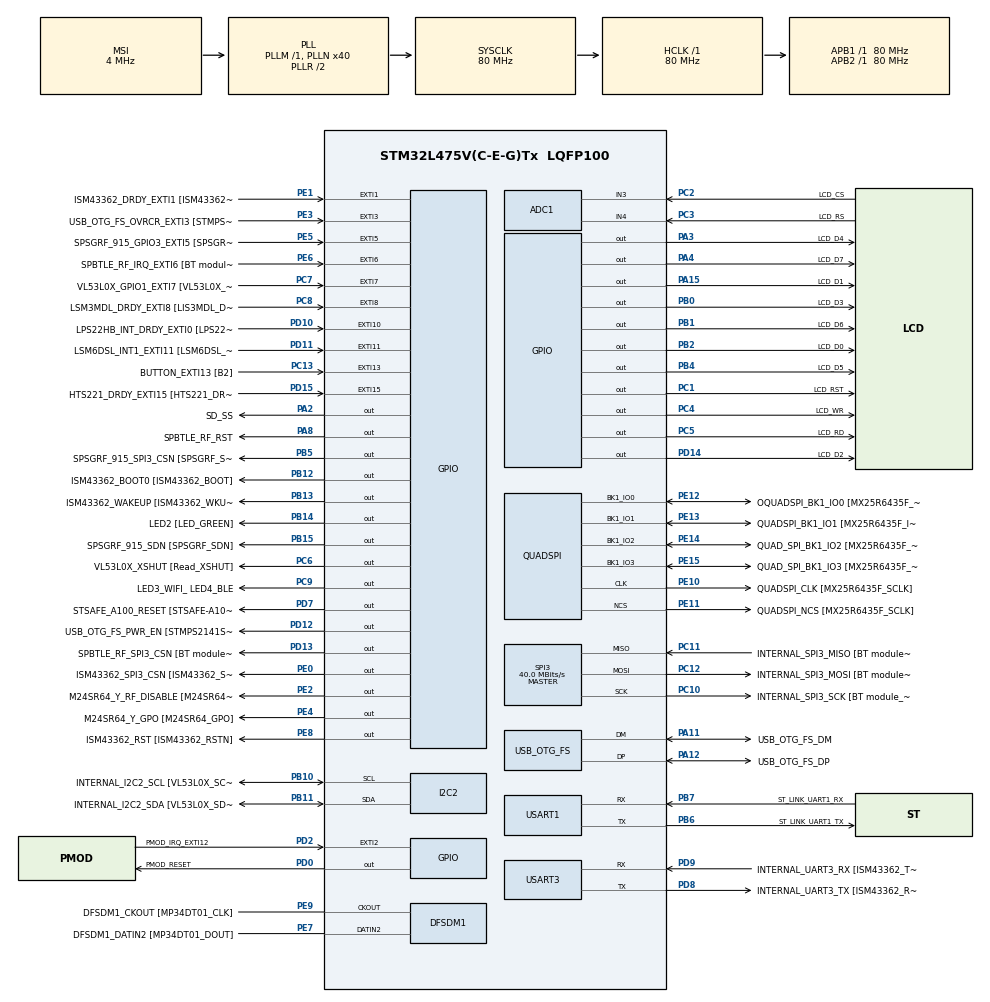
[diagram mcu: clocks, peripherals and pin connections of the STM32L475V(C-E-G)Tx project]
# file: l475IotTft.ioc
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ADC1.Channel-0\#ChannelRegularConversion=ADC_CHANNEL_3
ADC1.NbrOfConversionFlag=1
ADC1.OffsetNumber-0\#ChannelRegularConversion=ADC_OFFSET_NONE
ADC1.Rank-0\#ChannelRegularConversion=1
ADC1.SamplingTime-0\#ChannelRegularConversion=ADC_SAMPLETIME_2CYCLES_5
ADC1.master=1
Mcu.Family=STM32L4
Mcu.Name=STM32L475V(C-E-G)Tx
Mcu.Package=LQFP100
NVIC.EXTI15_10_IRQn=true\:0\:0\:false\:false\:true\:true\:true
NVIC.EXTI9_5_IRQn=true\:0\:0\:false\:false\:true\:true\:true
NVIC.PriorityGroup=NVIC_PRIORITYGROUP_4
PA0.GPIO_Label=ARD_D1 [UART4_TX]
PA0.Signal=UART4_TX
PA1.GPIO_Label=ARD_D0 [UART4_RX]
PA1.Signal=UART4_RX
PA10.GPIO_Label=USB_OTG_FS_ID
PA10.Signal=USB_OTG_FS_ID
PA11.GPIO_Label=USB_OTG_FS_DM
PA11.Mode=Device_Only
PA11.Signal=USB_OTG_FS_DM
PA12.GPIO_Label=USB_OTG_FS_DP
PA12.Mode=Device_Only
PA12.Signal=USB_OTG_FS_DP
PA13\ (JTMS-SWDIO).GPIO_Label=SYS_JTMS_SWDIO
PA13\ (JTMS-SWDIO).Mode=Serial_Wire
PA13\ (JTMS-SWDIO).Signal=SYS_JTMS-SWDIO
PA14\ (JTCK-SWCLK).GPIO_Label=SYS_JTCK_SWCLK
PA14\ (JTCK-SWCLK).Mode=Serial_Wire
PA14\ (JTCK-SWCLK).Signal=SYS_JTCK-SWCLK
PA15\ (JTDI).GPIO_Label=LCD_D1
PA15\ (JTDI).Signal=GPIO_Output
PA2.GPIO_Label=SD_SS
PA2.Signal=GPIO_Output
PA3.GPIO_Label=LCD_D4
PA3.Signal=GPIO_Output
PA4.GPIO_Label=LCD_D7
PA4.Signal=GPIO_Output
PA5.GPIO_Label=ARD_D13 [SPI1_SCK]
PA5.Signal=SPI1_SCK
PA6.GPIO_Label=ARD_D12 [SPI1_MISO]
PA6.Signal=SPI1_MISO
PA7.GPIO_Label=ARD_D11 [SPI1_MOSI]
PA7.Signal=SPI1_MOSI
PA8.GPIO_Label=SPBTLE_RF_RST
PA8.Signal=GPIO_Output
PA9.GPIO_Label=USB_OTG_FS_VBUS [STMPS2141STR_OUT]
PA9.Signal=USB_OTG_FS_VBUS
PB0.GPIO_Label=LCD_D3
PB0.Signal=GPIO_Output
PB1.GPIO_Label=LCD_D6
PB1.Signal=GPIO_Output
PB10.GPIO_Label=INTERNAL_I2C2_SCL [VL53L0X_SCL]
PB10.Mode=I2C
PB10.Signal=I2C2_SCL
PB11.GPIO_Label=INTERNAL_I2C2_SDA [VL53L0X_SDA]
PB11.Mode=I2C
PB11.Signal=I2C2_SDA
PB12.GPIO_Label=ISM43362_BOOT0 [ISM43362_BOOT]
PB12.Signal=GPIO_Output
PB13.GPIO_Label=ISM43362_WAKEUP [ISM43362_WKUP]
PB13.Signal=GPIO_Output
PB14.GPIO_Label=LED2 [LED_GREEN]
PB14.Signal=GPIO_Output
PB15.GPIO_Label=SPSGRF_915_SDN [SPSGRF_SDN]
PB15.Signal=GPIO_Output
PB2.GPIO_Label=LCD_D0
PB2.Signal=GPIO_Output
PB3\ (JTDO-TRACESWO).GPIO_Label=SYS_JTD0_SWO
PB3\ (JTDO-TRACESWO).Signal=SYS_JTDO-SWO
PB4\ (NJTRST).GPIO_Label=LCD_D5
PB4\ (NJTRST).Signal=GPIO_Output
PB5.GPIO_Label=SPSGRF_915_SPI3_CSN [SPSGRF_SPI_CS]
PB5.Signal=GPIO_Output
PB6.GPIO_Label=ST_LINK_UART1_TX
PB6.Mode=Asynchronous
PB6.Signal=USART1_TX
PB7.GPIO_Label=ST_LINK_UART1_RX
PB7.Mode=Asynchronous
PB7.Signal=USART1_RX
PB8.GPIO_Label=ARD_D15 [I2C1_SCL]
PB8.Signal=I2C1_SCL
PB9.GPIO_Label=ARD_D14 [I2C1_SDA]
PB9.Signal=I2C1_SDA
PC0.GPIO_Label=ARD_A5 [ADC]
PC0.Signal=ADCx_IN1
PC1.GPIO_Label=LCD_RST
PC1.Signal=GPIO_Output
PC10.GPIO_Label=INTERNAL_SPI3_SCK [BT module_SPI_SCLK]
PC10.Mode=Full_Duplex_Master
PC10.Signal=SPI3_SCK
PC11.GPIO_Label=INTERNAL_SPI3_MISO [BT module_SPI_MISO]
PC11.Mode=Full_Duplex_Master
PC11.Signal=SPI3_MISO
PC12.GPIO_Label=INTERNAL_SPI3_MOSI [BT module_SPI_MOSI]
PC12.Mode=Full_Duplex_Master
PC12.Signal=SPI3_MOSI
PC13.GPIO_Label=BUTTON_EXTI13 [B2]
PC13.GPIO_ModeDefaultEXTI=GPIO_MODE_IT_FALLING
PC13.Signal=GPXTI13
PC14-OSC32_IN\ (PC14).Mode=LSE-External-Oscillator
PC14-OSC32_IN\ (PC14).Signal=RCC_OSC32_IN
PC15-OSC32_OUT\ (PC15).Mode=LSE-External-Oscillator
PC15-OSC32_OUT\ (PC15).Signal=RCC_OSC32_OUT
PC2.GPIO_Label=LCD_CS
PC2.Signal=ADCx_IN3
PC3.GPIO_Label=LCD_RS
PC3.Signal=ADCx_IN4
PC4.GPIO_Label=LCD_WR
PC4.Signal=GPIO_Output
PC5.GPIO_Label=LCD_RD
PC5.Signal=GPIO_Output
PC6.GPIO_Label=VL53L0X_XSHUT [Read_XSHUT]
PC6.Signal=GPIO_Output
PC7.GPIO_Label=VL53L0X_GPIO1_EXTI7 [VL53L0X_GPIO1]
PC7.Signal=GPXTI7
PC8.GPIO_Label=LSM3MDL_DRDY_EXTI8 [LIS3MDL_DRDY]
PC8.Signal=GPXTI8
PC9.GPIO_Label=LED3_WIFI_ LED4_BLE
PC9.Signal=GPIO_Output
PD0.GPIO_Label=PMOD_RESET
PD0.Signal=GPIO_Output
PD1.GPIO_Label=PMOD_SPI2_SCK
PD1.Signal=SPI2_SCK
PD10.GPIO_Label=LPS22HB_INT_DRDY_EXTI0 [LPS22HB_INT_DRDY] 
PD10.Signal=GPXTI10
PD11.GPIO_Label=LSM6DSL_INT1_EXTI11 [LSM6DSL_INT1]
PD11.Signal=GPXTI11
PD12.GPIO_Label=USB_OTG_FS_PWR_EN [STMPS2141STR_EN]
PD12.Signal=GPIO_Output
PD13.GPIO_Label=SPBTLE_RF_SPI3_CSN [BT module_SPI_CS]
PD13.Signal=GPIO_Output
PD14.GPIO_Label=LCD_D2
PD14.Signal=GPIO_Output
PD15.GPIO_Label=HTS221_DRDY_EXTI15 [HTS221_DRDY]
PD15.Signal=GPXTI15
PD2.GPIO_Label=PMOD_IRQ_EXTI12
PD2.Signal=GPXTI2
PD3.GPIO_Label=PMOD_UART2_CTS
PD3.Signal=USART2_CTS
PD4.GPIO_Label=PMOD_UART2_RTS
PD4.Signal=USART2_RTS
PD5.GPIO_Label=PMOD_UART2_TX
PD5.Signal=USART2_TX
PD6.GPIO_Label=PMOD_UART2_RX
PD6.Signal=USART2_RX
PD7.GPIO_Label=STSAFE_A100_RESET [STSAFE-A100_RESET]
PD7.Signal=GPIO_Output
PD8.GPIO_Label=INTERNAL_UART3_TX [ISM43362_RX]
PD8.Mode=Asynchronous
PD8.Signal=USART3_TX
PD9.GPIO_Label=INTERNAL_UART3_RX [ISM43362_TX]
PD9.Mode=Asynchronous
PD9.Signal=USART3_RX
PE0.GPIO_Label=ISM43362_SPI3_CSN [ISM43362_SSN]
PE0.Signal=GPIO_Output
PE1.GPIO_Label=ISM43362_DRDY_EXTI1 [ISM43362_DATARDY]
PE1.Signal=GPXTI1
PE10.GPIO_Label=QUADSPI_CLK [MX25R6435F_SCLK]
PE10.Mode=Single Bank
PE10.Signal=QUADSPI_CLK
PE11.GPIO_Label=QUADSPI_NCS [MX25R6435F_SCLK]
PE11.Mode=Single Bank
PE11.Signal=QUADSPI_NCS
PE12.GPIO_Label=OQUADSPI_BK1_IO0 [MX25R6435F_IO0]
PE12.Mode=Single Bank
PE12.Signal=QUADSPI_BK1_IO0
PE13.GPIO_Label=QUADSPI_BK1_IO1 [MX25R6435F_IO1]
PE13.Mode=Single Bank
PE13.Signal=QUADSPI_BK1_IO1
PE14.GPIO_Label=QUAD_SPI_BK1_IO2 [MX25R6435F_IO2]
PE14.Mode=Single Bank
PE14.Signal=QUADSPI_BK1_IO2
PE15.GPIO_Label=QUAD_SPI_BK1_IO3 [MX25R6435F_IO3]
PE15.Mode=Single Bank
PE15.Signal=QUADSPI_BK1_IO3
PE2.GPIO_Label=M24SR64_Y_RF_DISABLE [M24SR64_RFDIS]
PE2.Signal=GPIO_Output
PE3.GPIO_Label=USB_OTG_FS_OVRCR_EXTI3 [STMPS2141STR_FAULT]
PE3.Signal=GPXTI3
PE4.GPIO_Label=M24SR64_Y_GPO [M24SR64_GPO]
PE4.Signal=GPIO_Output
PE5.GPIO_Label=SPSGRF_915_GPIO3_EXTI5 [SPSGRF_GPIO_3]
PE5.Signal=GPXTI5
PE6.GPIO_Label=SPBTLE_RF_IRQ_EXTI6 [BT module_SPI_IRQ]
PE6.Signal=GPXTI6
PE7.GPIO_Label=DFSDM1_DATIN2 [MP34DT01_DOUT]
PE7.Signal=S_DATAIN2DFSDM1
PE8.GPIO_Label=ISM43362_RST [ISM43362_RSTN]
PE8.Signal=GPIO_Output
PE9.GPIO_Label=DFSDM1_CKOUT [MP34DT01_CLK]
PE9.Signal=S_CKOUTDFSDM1
ProjectManager.HeapSize=0x200
ProjectManager.StackSize=0x400
ProjectManager.TargetToolchain=TrueSTUDIO
RCC.ADCFreq_Value=48000000
RCC.AHBFreq_Value=80000000
RCC.APB1Freq_Value=80000000
RCC.APB1TimFreq_Value=80000000
RCC.APB2Freq_Value=80000000
RCC.APB2TimFreq_Value=80000000
RCC.CortexFreq_Value=80000000
RCC.HCLKFreq_Value=80000000
RCC.HSE_VALUE=8000000
RCC.HSI_VALUE=16000000
RCC.MSI_VALUE=4000000
RCC.PLLN=40
RCC.PLLSAI1N=24
RCC.SYSCLKFreq_VALUE=80000000
RCC.SYSCLKSource=RCC_SYSCLKSOURCE_PLLCLK
RCC.USBFreq_Value=48000000
RCC.VCOOutputFreq_Value=160000000
SH.ADCx_IN1.0=ADC1_IN1
SH.ADCx_IN3.0=ADC1_IN3,IN3-Single-Ended
SH.ADCx_IN4.0=ADC1_IN4,IN4-Single-Ended
SH.S_CKOUTDFSDM1.0=DFSDM1_CKOUT,CKOUT
SH.S_CKOUTDFSDM1.1=DFSDM1_CKOUT,PDM_SPI_Input_from_ch12_and_Internal_Clock
SH.S_DATAIN2DFSDM1.0=DFSDM1_DATIN2,PDM_SPI_Input_from_ch12_and_Internal_Clock
SPI3.CalculateBaudRate=40.0 MBits/s
SPI3.Direction=SPI_DIRECTION_2LINES
SPI3.Mode=SPI_MODE_MASTER
SPI3.VirtualType=VM_MASTER
USART1.VirtualMode-Asynchronous=VM_ASYNC
USART3.VirtualMode-Asynchronous=VM_ASYNC
USB_OTG_FS.VirtualMode=Device_Only
VP_CRC_VS_CRC.Mode=CRC_Activate
board=B-L475E-IOT01A

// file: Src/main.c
/* USER CODE BEGIN Header */
/**
 * Navreet Kaur
 * Lab 5 ECET 260 TFT Display
 * This Lab displays a text on the screen and changes the color of text when virtual button
 *   on screen is touched or pressed.
 * 6 Oct,2019
  ******************************************************************************
  * @file           : main.c
  * @brief          : Main program body
  ******************************************************************************
  ** This notice applies to any and all portions of this file
  * that are not between comment pairs USER CODE BEGIN and
  * USER CODE END. Other portions of this file, whether
  * inserted by the user or by software development tools
  * are owned by their respective copyright owners.
  *
  * COPYRIGHT(c) 2018 STMicroelectronics
  *
  * Redistribution and use in source and binary forms, with or without modification,
  * are permitted provided that the following conditions are met:
  *   1. Redistributions of source code must retain the above copyright notice,
  *      this list of conditions and the following disclaimer.
  *   2. Redistributions in binary form must reproduce the above copyright notice,
  *      this list of conditions and the following disclaimer in the documentation
  *      and/or other materials provided with the distribution.
  *   3. Neither the name of STMicroelectronics nor the names of its contributors
  *      may be used to endorse or promote products derived from this software
  *      without specific prior written permission.
  *
  * THIS SOFTWARE IS PROVIDED BY THE COPYRIGHT HOLDERS AND CONTRIBUTORS "AS IS"
  * AND ANY EXPRESS OR IMPLIED WARRANTIES, INCLUDING, BUT NOT LIMITED TO, THE
  * IMPLIED WARRANTIES OF MERCHANTABILITY AND FITNESS FOR A PARTICULAR PURPOSE ARE
  * DISCLAIMED. IN NO EVENT SHALL THE COPYRIGHT HOLDER OR CONTRIBUTORS BE LIABLE
  * FOR ANY DIRECT, INDIRECT, INCIDENTAL, SPECIAL, EXEMPLARY, OR CONSEQUENTIAL
  * DAMAGES (INCLUDING, BUT NOT LIMITED TO, PROCUREMENT OF SUBSTITUTE GOODS OR
  * SERVICES; LOSS OF USE, DATA, OR PROFITS; OR BUSINESS INTERRUPTION) HOWEVER
  * CAUSED AND ON ANY THEORY OF LIABILITY, WHETHER IN CONTRACT, STRICT LIABILITY,
  * OR TORT (INCLUDING NEGLIGENCE OR OTHERWISE) ARISING IN ANY WAY OUT OF THE USE
  * OF THIS SOFTWARE, EVEN IF ADVISED OF THE POSSIBILITY OF SUCH DAMAGE.
  *
  ******************************************************************************
  */
/* USER CODE END Header */

#include "main.h"

/* USER CODE BEGIN Includes */
#include "GUI.h"
#include "LCDConf.h"
#include "DIALOG.h"
#include <stdio.h>
#include "ts.h"
/* USER CODE END Includes */

/* USER CODE BEGIN PD */
/* Private defines */

/* USER CODE END PD */

ADC_HandleTypeDef hadc1;

CRC_HandleTypeDef hcrc;

DFSDM_Channel_HandleTypeDef hdfsdm1_channel1;

I2C_HandleTypeDef hi2c2;

QSPI_HandleTypeDef hqspi;

SPI_HandleTypeDef hspi3;

UART_HandleTypeDef huart1;
UART_HandleTypeDef huart3;

PCD_HandleTypeDef hpcd_USB_OTG_FS;

/* USER CODE BEGIN PV */
const GUI_BITMAP bmlemmling_Cartoon_penguin_small;
GUI_CONST_STORAGE GUI_BITMAP bmledCircleOrange;
GUI_HSPRITE hSprite;
/* USER CODE END PV */

void SystemClock_Config(void);
static void MX_GPIO_Init(void);
static void MX_DFSDM1_Init(void);
static void MX_I2C2_Init(void);
static void MX_QUADSPI_Init(void);
static void MX_SPI3_Init(void);
static void MX_USART1_UART_Init(void);
static void MX_USART3_UART_Init(void);
static void MX_USB_OTG_FS_PCD_Init(void);
static void MX_CRC_Init(void);
static void MX_ADC1_Init(void);

int main(void)
{
  /* USER CODE BEGIN 1 */
	PROGBAR_Handle hProgbar;
	BUTTON_Handle hButton;
//	SLIDER_Handle hSlider;

	int posx = 20;
	int posy = 60;
	int cx=1;
	int cy=1;
	int accelx = 1;
	int accely = 1;

  /* USER CODE END 1 */

  /* MCU Configuration--------------------------------------------------------*/

  /* Reset of all peripherals, Initializes the Flash interface and the Systick. */
  HAL_Init();

  /* Configure the system clock */
  SystemClock_Config();

  /* Initialize all configured peripherals */
  MX_GPIO_Init();
  MX_DFSDM1_Init();
  MX_I2C2_Init();
  MX_QUADSPI_Init();
  MX_SPI3_Init();
  MX_USART1_UART_Init();
  MX_USART3_UART_Init();
  MX_USB_OTG_FS_PCD_Init();
  MX_CRC_Init();
  MX_ADC1_Init();
  /* USER CODE BEGIN 2 */
  HAL_ADCEx_Calibration_Start(&hadc1, ADC_SINGLE_ENDED);

  GUI_Init();

  GUI_SetFont(&GUI_Font8x16);
  GUI_SetBkColor(GUI_LIGHTYELLOW);
  GUI_Clear();

  GUI_SetColor(GUI_CYAN);			//foreground or text color
  GUI_DispString("ECET260 Test Program\tStemwin ver: ");

  GUI_DispString(GUI_GetVersionString());
  GUI_DispString("\n\n\n");

  GUI_SetFont(&GUI_FontComic24B_1);
  GUI_SetColor(GUI_DARKRED);		//foreground or text color

  GUI_DrawGradientH(5, 150, 315, 235, 0x00FF00, 0xFF0000);

  PROGBAR_SetDefaultSkin(PROGBAR_SKIN_FLEX); // Sets the default skin for new widgets

  /* Create progress bar at location x = 10, y = 10, length = 219, height = 30 */
  hProgbar = PROGBAR_CreateEx(50, 180, 219, 30, 0, WM_CF_SHOW, 0, GUI_ID_PROGBAR0);

  /* Set progress bar font */
  PROGBAR_SetFont(hProgbar, &GUI_Font8x16);

  PROGBAR_SetMinMax(hProgbar, 0, 99);

  /* Set progress bar text */
  PROGBAR_SetText(hProgbar, "...");
//  PROGBAR_SetBarColor(hProgbar,0,GUI_WHITE);
//  PROGBAR_SetBarColor(hProgbar,0,GUI_BROWN);
//  PROGBAR_SetValue(hProgbar, 50);
//  SLIDER_SetDefaultSkin(SLIDER_SKIN_FLEX);
//  hSlider = SLIDER_CreateEx(50, 210, 219, 30, 0, WM_CF_SHOW, 0, GUI_ID_SLIDER0);

  // Create the button
  hButton = BUTTON_CreateEx(250, 70, 60, 60, 0, WM_CF_SHOW, 0, GUI_ID_BUTTON0);

  BUTTON_SetFont(hButton, &GUI_Font8x16);
  // Set the button text
  BUTTON_SetText(hButton, "Color");
//  GUI_Exec();

  hSprite = GUI_SPRITE_Create(&bmlemmling_Cartoon_penguin_small, posx,posy);
//  hSprite = GUI_SPRITE_Create(&bmledCircleOrange, cx-47, cy-47);
//  GUI_Exec();

  int count=0;
  char countString[10];
//  char touchString[20];

  /* USER CODE END 2 */

  /* Infinite loop */
  while (1)
  {

    /* USER CODE BEGIN 3 */
	  GUI_PID_GetCurrentState(&pstate);

	 // GUI_DispDecAt(count, 20,20,4);

	  sprintf(countString, "%d", count);

	  PROGBAR_SetValue(hProgbar, count/100);		//use dec value for bar position
	  PROGBAR_SetText(hProgbar, countString); 		//use string for text on progress bar

//	  Convert_Pos();
//	  GUI_TOUCH_GetState(&pstate);  /* Get the touch position in pixel */
//	  GUI_DispDecAt(pstate.x, 100,50,3);
//	  GUI_DispDecAt(pstate.y, 200,50,3);

//	  GUI_DispDecAt(GUI_TOUCH_GetxPhys(), 100,50,3);
//	  GUI_DispDecAt(GUI_TOUCH_GetyPhys(), 200,50,3);

//	  GUI_DispDecAt(GUI_TOUCH_X_MeasureX(), 100,50,4);
//	  GUI_DispDecAt(GUI_TOUCH_X_MeasureY(), 200,50,4);

//	  sprintf(touchString, "%ld     %ld", potx, poty);
//	  GUI_DispStringAt("                      ", 150, 50);
//	  GUI_DispStringAt(touchString, 150, 50);

//	  if(pstate.Pressed)
//	  {
//		  GUI_DispStringAt("P", 200,20);
////		  GUI_DispDecAt(TPReadX(), 200,50,4);
////		  GUI_SPRITE_Show(hSprite);
//	  }
//	  else
//	  {
//		  GUI_DispStringAt("   ", 200,20);
////		  GUI_SPRITE_Hide(hSprite);
//	  }
//

	  if(BUTTON_IsPressed(hButton)) // if the button is pressed
  	  {// change the font color to blue
		  GUI_SetFont(&GUI_Font32B_ASCII);
		  GUI_SetColor(GUI_BLUE);
		  GUI_DispStringAt("ECET 260 Lab 5", 40,80);
		  GUI_SetFont(&GUI_FontComic24B_1);
		  GUI_DispStringAt("Navreet", 120,120);
	  }
	  else  // if not pressed
	  {  // change the font color to dark red
		  GUI_SetFont(&GUI_Font32B_ASCII);
	      GUI_SetColor(GUI_DARKRED);
		  GUI_DispStringAt("ECET 260 Lab 5", 40,80);
		  GUI_SetFont(&GUI_FontComic24B_1);
		  GUI_DispStringAt("Navreet", 120,120);
	  }

//sprite movement
		if(posx>320-60)
		{
			accelx = -1;
		}

		if(posy>240-60)
		{
			accely = -1;
		}

		if(posx<0)
		{
			accelx = 1;
		}

		if(posy<0)
		{
			accely = 1;
		}

		posx = posx + (cx * accelx);
		posy = posy + (cy * accely);

	  GUI_SPRITE_SetPosition(hSprite, (int16_t)posx, (int16_t)posy);

//	  char * apText[] = {
//	  "Monday",
//	  "Tuesday",
//	  "Wednesday",
//	  "Thursday",
//	  "Friday",
//	  "Saturday",
//	  "Sunday",
//	  NULL
//	  };
//	  LISTWHEEL_CreateEx(10, 10, 100, 100, WM_HBKWIN, WM_CF_SHOW,
//	  0, GUI_ID_LISTWHEEL0, apText);
//
//	  SLIDER_SetValue(hSlider,SLIDER_GetValue(hSlider));

	  GUI_Exec();

	  if (++count > 9999) {
		  count = 0;
	  }

	  GUI_TOUCH_Exec(); //call each time through to get new touchscreen input
//	  GUI_Clear();
  }
  /* USER CODE END 3 */
}

void SystemClock_Config(void)
{
  RCC_OscInitTypeDef RCC_OscInitStruct = {0};
  RCC_ClkInitTypeDef RCC_ClkInitStruct = {0};
  RCC_PeriphCLKInitTypeDef PeriphClkInit = {0};

  /** Configure LSE Drive Capability
  */
  HAL_PWR_EnableBkUpAccess();
  __HAL_RCC_LSEDRIVE_CONFIG(RCC_LSEDRIVE_LOW);
  /** Initializes the CPU, AHB and APB busses clocks
  */
  RCC_OscInitStruct.OscillatorType = RCC_OSCILLATORTYPE_LSE|RCC_OSCILLATORTYPE_MSI;
  RCC_OscInitStruct.LSEState = RCC_LSE_ON;
  RCC_OscInitStruct.MSIState = RCC_MSI_ON;
  RCC_OscInitStruct.MSICalibrationValue = 0;
  RCC_OscInitStruct.MSIClockRange = RCC_MSIRANGE_6;
  RCC_OscInitStruct.PLL.PLLState = RCC_PLL_ON;
  RCC_OscInitStruct.PLL.PLLSource = RCC_PLLSOURCE_MSI;
  RCC_OscInitStruct.PLL.PLLM = 1;
  RCC_OscInitStruct.PLL.PLLN = 40;
  RCC_OscInitStruct.PLL.PLLP = RCC_PLLP_DIV7;
  RCC_OscInitStruct.PLL.PLLQ = RCC_PLLQ_DIV2;
  RCC_OscInitStruct.PLL.PLLR = RCC_PLLR_DIV2;
  if (HAL_RCC_OscConfig(&RCC_OscInitStruct) != HAL_OK)
  {
    Error_Handler();
  }
  /** Initializes the CPU, AHB and APB busses clocks
  */
  RCC_ClkInitStruct.ClockType = RCC_CLOCKTYPE_HCLK|RCC_CLOCKTYPE_SYSCLK
                              |RCC_CLOCKTYPE_PCLK1|RCC_CLOCKTYPE_PCLK2;
  RCC_ClkInitStruct.SYSCLKSource = RCC_SYSCLKSOURCE_PLLCLK;
  RCC_ClkInitStruct.AHBCLKDivider = RCC_SYSCLK_DIV1;
  RCC_ClkInitStruct.APB1CLKDivider = RCC_HCLK_DIV1;
  RCC_ClkInitStruct.APB2CLKDivider = RCC_HCLK_DIV1;

  if (HAL_RCC_ClockConfig(&RCC_ClkInitStruct, FLASH_LATENCY_4) != HAL_OK)
  {
    Error_Handler();
  }
  PeriphClkInit.PeriphClockSelection = RCC_PERIPHCLK_USART1|RCC_PERIPHCLK_USART3
                              |RCC_PERIPHCLK_I2C2|RCC_PERIPHCLK_DFSDM1
                              |RCC_PERIPHCLK_USB|RCC_PERIPHCLK_ADC;
  PeriphClkInit.Usart1ClockSelection = RCC_USART1CLKSOURCE_PCLK2;
  PeriphClkInit.Usart3ClockSelection = RCC_USART3CLKSOURCE_PCLK1;
  PeriphClkInit.I2c2ClockSelection = RCC_I2C2CLKSOURCE_PCLK1;
  PeriphClkInit.AdcClockSelection = RCC_ADCCLKSOURCE_PLLSAI1;
  PeriphClkInit.Dfsdm1ClockSelection = RCC_DFSDM1CLKSOURCE_PCLK;
  PeriphClkInit.UsbClockSelection = RCC_USBCLKSOURCE_PLLSAI1;
  PeriphClkInit.PLLSAI1.PLLSAI1Source = RCC_PLLSOURCE_MSI;
  PeriphClkInit.PLLSAI1.PLLSAI1M = 1;
  PeriphClkInit.PLLSAI1.PLLSAI1N = 24;
  PeriphClkInit.PLLSAI1.PLLSAI1P = RCC_PLLP_DIV7;
  PeriphClkInit.PLLSAI1.PLLSAI1Q = RCC_PLLQ_DIV2;
  PeriphClkInit.PLLSAI1.PLLSAI1R = RCC_PLLR_DIV2;
  PeriphClkInit.PLLSAI1.PLLSAI1ClockOut = RCC_PLLSAI1_48M2CLK|RCC_PLLSAI1_ADC1CLK;
  if (HAL_RCCEx_PeriphCLKConfig(&PeriphClkInit) != HAL_OK)
  {
    Error_Handler();
  }
  /** Configure the main internal regulator output voltage
  */
  if (HAL_PWREx_ControlVoltageScaling(PWR_REGULATOR_VOLTAGE_SCALE1) != HAL_OK)
  {
    Error_Handler();
  }
  /** Enable MSI Auto calibration
  */
  HAL_RCCEx_EnableMSIPLLMode();
}

static void MX_ADC1_Init(void)
{

  ADC_MultiModeTypeDef multimode = {0};
  ADC_ChannelConfTypeDef sConfig = {0};

  /** Common config
  */
  hadc1.Instance = ADC1;
  hadc1.Init.ClockPrescaler = ADC_CLOCK_ASYNC_DIV1;
  hadc1.Init.Resolution = ADC_RESOLUTION_12B;
  hadc1.Init.DataAlign = ADC_DATAALIGN_RIGHT;
  hadc1.Init.ScanConvMode = ADC_SCAN_DISABLE;
  hadc1.Init.EOCSelection = ADC_EOC_SINGLE_CONV;
  hadc1.Init.LowPowerAutoWait = DISABLE;
  hadc1.Init.ContinuousConvMode = DISABLE;
  hadc1.Init.NbrOfConversion = 1;
  hadc1.Init.DiscontinuousConvMode = DISABLE;
  hadc1.Init.ExternalTrigConv = ADC_SOFTWARE_START;
  hadc1.Init.ExternalTrigConvEdge = ADC_EXTERNALTRIGCONVEDGE_NONE;
  hadc1.Init.DMAContinuousRequests = DISABLE;
  hadc1.Init.Overrun = ADC_OVR_DATA_PRESERVED;
  hadc1.Init.OversamplingMode = DISABLE;
  if (HAL_ADC_Init(&hadc1) != HAL_OK)
  {
    Error_Handler();
  }
  /** Configure the ADC multi-mode
  */
  multimode.Mode = ADC_MODE_INDEPENDENT;
  if (HAL_ADCEx_MultiModeConfigChannel(&hadc1, &multimode) != HAL_OK)
  {
    Error_Handler();
  }
  /** Configure Regular Channel
  */
  sConfig.Channel = ADC_CHANNEL_3;
  sConfig.Rank = ADC_REGULAR_RANK_1;
  sConfig.SamplingTime = ADC_SAMPLETIME_2CYCLES_5;
  sConfig.SingleDiff = ADC_SINGLE_ENDED;
  sConfig.OffsetNumber = ADC_OFFSET_NONE;
  sConfig.Offset = 0;
  if (HAL_ADC_ConfigChannel(&hadc1, &sConfig) != HAL_OK)
  {
    Error_Handler();
  }

}

static void MX_CRC_Init(void)
{

  hcrc.Instance = CRC;
  hcrc.Init.DefaultPolynomialUse = DEFAULT_POLYNOMIAL_ENABLE;
  hcrc.Init.DefaultInitValueUse = DEFAULT_INIT_VALUE_ENABLE;
  hcrc.Init.InputDataInversionMode = CRC_INPUTDATA_INVERSION_NONE;
  hcrc.Init.OutputDataInversionMode = CRC_OUTPUTDATA_INVERSION_DISABLE;
  hcrc.InputDataFormat = CRC_INPUTDATA_FORMAT_BYTES;
  if (HAL_CRC_Init(&hcrc) != HAL_OK)
  {
    Error_Handler();
  }

}

static void MX_DFSDM1_Init(void)
{

  hdfsdm1_channel1.Instance = DFSDM1_Channel1;
  hdfsdm1_channel1.Init.OutputClock.Activation = ENABLE;
  hdfsdm1_channel1.Init.OutputClock.Selection = DFSDM_CHANNEL_OUTPUT_CLOCK_SYSTEM;
  hdfsdm1_channel1.Init.OutputClock.Divider = 2;
  hdfsdm1_channel1.Init.Input.Multiplexer = DFSDM_CHANNEL_EXTERNAL_INPUTS;
  hdfsdm1_channel1.Init.Input.DataPacking = DFSDM_CHANNEL_STANDARD_MODE;
  hdfsdm1_channel1.Init.Input.Pins = DFSDM_CHANNEL_FOLLOWING_CHANNEL_PINS;
  hdfsdm1_channel1.Init.SerialInterface.Type = DFSDM_CHANNEL_SPI_RISING;
  hdfsdm1_channel1.Init.SerialInterface.SpiClock = DFSDM_CHANNEL_SPI_CLOCK_INTERNAL;
  hdfsdm1_channel1.Init.Awd.FilterOrder = DFSDM_CHANNEL_FASTSINC_ORDER;
  hdfsdm1_channel1.Init.Awd.Oversampling = 1;
  hdfsdm1_channel1.Init.Offset = 0;
  hdfsdm1_channel1.Init.RightBitShift = 0x00;
  if (HAL_DFSDM_ChannelInit(&hdfsdm1_channel1) != HAL_OK)
  {
    Error_Handler();
  }

}

static void MX_I2C2_Init(void)
{

  hi2c2.Instance = I2C2;
  hi2c2.Init.Timing = 0x10909CEC;
  hi2c2.Init.OwnAddress1 = 0;
  hi2c2.Init.AddressingMode = I2C_ADDRESSINGMODE_7BIT;
  hi2c2.Init.DualAddressMode = I2C_DUALADDRESS_DISABLE;
  hi2c2.Init.OwnAddress2 = 0;
  hi2c2.Init.OwnAddress2Masks = I2C_OA2_NOMASK;
  hi2c2.Init.GeneralCallMode = I2C_GENERALCALL_DISABLE;
  hi2c2.Init.NoStretchMode = I2C_NOSTRETCH_DISABLE;
  if (HAL_I2C_Init(&hi2c2) != HAL_OK)
  {
    Error_Handler();
  }
  /** Configure Analogue filter
  */
  if (HAL_I2CEx_ConfigAnalogFilter(&hi2c2, I2C_ANALOGFILTER_ENABLE) != HAL_OK)
  {
    Error_Handler();
  }
  /** Configure Digital filter
  */
  if (HAL_I2CEx_ConfigDigitalFilter(&hi2c2, 0) != HAL_OK)
  {
    Error_Handler();
  }

}

static void MX_QUADSPI_Init(void)
{

  /* QUADSPI parameter configuration*/
  hqspi.Instance = QUADSPI;
  hqspi.Init.ClockPrescaler = 255;
  hqspi.Init.FifoThreshold = 1;
  hqspi.Init.SampleShifting = QSPI_SAMPLE_SHIFTING_NONE;
  hqspi.Init.FlashSize = 1;
  hqspi.Init.ChipSelectHighTime = QSPI_CS_HIGH_TIME_1_CYCLE;
  hqspi.Init.ClockMode = QSPI_CLOCK_MODE_0;
  if (HAL_QSPI_Init(&hqspi) != HAL_OK)
  {
    Error_Handler();
  }

}

static void MX_SPI3_Init(void)
{

  /* SPI3 parameter configuration*/
  hspi3.Instance = SPI3;
  hspi3.Init.Mode = SPI_MODE_MASTER;
  hspi3.Init.Direction = SPI_DIRECTION_2LINES;
  hspi3.Init.DataSize = SPI_DATASIZE_4BIT;
  hspi3.Init.CLKPolarity = SPI_POLARITY_LOW;
  hspi3.Init.CLKPhase = SPI_PHASE_1EDGE;
  hspi3.Init.NSS = SPI_NSS_SOFT;
  hspi3.Init.BaudRatePrescaler = SPI_BAUDRATEPRESCALER_2;
  hspi3.Init.FirstBit = SPI_FIRSTBIT_MSB;
  hspi3.Init.TIMode = SPI_TIMODE_DISABLE;
  hspi3.Init.CRCCalculation = SPI_CRCCALCULATION_DISABLE;
  hspi3.Init.CRCPolynomial = 7;
  hspi3.Init.CRCLength = SPI_CRC_LENGTH_DATASIZE;
  hspi3.Init.NSSPMode = SPI_NSS_PULSE_ENABLE;
  if (HAL_SPI_Init(&hspi3) != HAL_OK)
  {
    Error_Handler();
  }

}

static void MX_USART1_UART_Init(void)
{

  huart1.Instance = USART1;
  huart1.Init.BaudRate = 115200;
  huart1.Init.WordLength = UART_WORDLENGTH_8B;
  huart1.Init.StopBits = UART_STOPBITS_1;
  huart1.Init.Parity = UART_PARITY_NONE;
  huart1.Init.Mode = UART_MODE_TX_RX;
  huart1.Init.HwFlowCtl = UART_HWCONTROL_NONE;
  huart1.Init.OverSampling = UART_OVERSAMPLING_16;
  huart1.Init.OneBitSampling = UART_ONE_BIT_SAMPLE_DISABLE;
  huart1.AdvancedInit.AdvFeatureInit = UART_ADVFEATURE_NO_INIT;
  if (HAL_UART_Init(&huart1) != HAL_OK)
  {
    Error_Handler();
  }

}

static void MX_USART3_UART_Init(void)
{

  huart3.Instance = USART3;
  huart3.Init.BaudRate = 115200;
  huart3.Init.WordLength = UART_WORDLENGTH_8B;
  huart3.Init.StopBits = UART_STOPBITS_1;
  huart3.Init.Parity = UART_PARITY_NONE;
  huart3.Init.Mode = UART_MODE_TX_RX;
  huart3.Init.HwFlowCtl = UART_HWCONTROL_NONE;
  huart3.Init.OverSampling = UART_OVERSAMPLING_16;
  huart3.Init.OneBitSampling = UART_ONE_BIT_SAMPLE_DISABLE;
  huart3.AdvancedInit.AdvFeatureInit = UART_ADVFEATURE_NO_INIT;
  if (HAL_UART_Init(&huart3) != HAL_OK)
  {
    Error_Handler();
  }

}

static void MX_USB_OTG_FS_PCD_Init(void)
{

  hpcd_USB_OTG_FS.Instance = USB_OTG_FS;
  hpcd_USB_OTG_FS.Init.dev_endpoints = 6;
  hpcd_USB_OTG_FS.Init.speed = PCD_SPEED_FULL;
  hpcd_USB_OTG_FS.Init.phy_itface = PCD_PHY_EMBEDDED;
  hpcd_USB_OTG_FS.Init.Sof_enable = DISABLE;
  hpcd_USB_OTG_FS.Init.low_power_enable = DISABLE;
  hpcd_USB_OTG_FS.Init.lpm_enable = DISABLE;
  hpcd_USB_OTG_FS.Init.battery_charging_enable = DISABLE;
  hpcd_USB_OTG_FS.Init.use_dedicated_ep1 = DISABLE;
  hpcd_USB_OTG_FS.Init.vbus_sensing_enable = DISABLE;
  if (HAL_PCD_Init(&hpcd_USB_OTG_FS) != HAL_OK)
  {
    Error_Handler();
  }

}

static void MX_GPIO_Init(void)
{
  GPIO_InitTypeDef GPIO_InitStruct = {0};

  /* GPIO Ports Clock Enable */
  __HAL_RCC_GPIOE_CLK_ENABLE();
  __HAL_RCC_GPIOC_CLK_ENABLE();
  __HAL_RCC_GPIOA_CLK_ENABLE();
  __HAL_RCC_GPIOB_CLK_ENABLE();
  __HAL_RCC_GPIOD_CLK_ENABLE();

  /*Configure GPIO pin Output Level */
  HAL_GPIO_WritePin(GPIOE, M24SR64_Y_RF_DISABLE_Pin|M24SR64_Y_GPO_Pin|ISM43362_RST_Pin|ISM43362_SPI3_CSN_Pin, GPIO_PIN_RESET);

  /*Configure GPIO pin Output Level */
  HAL_GPIO_WritePin(GPIOC, LCD_RST_Pin|LCD_WR_Pin|LCD_RD_Pin|VL53L0X_XSHUT_Pin
                          |LED3_WIFI__LED4_BLE_Pin, GPIO_PIN_RESET);

  /*Configure GPIO pin Output Level */
  HAL_GPIO_WritePin(GPIOA, SD_SS_Pin|LCD_D4_Pin|LCD_D7_Pin|SPBTLE_RF_RST_Pin
                          |LCD_D1_Pin, GPIO_PIN_RESET);

  /*Configure GPIO pin Output Level */
  HAL_GPIO_WritePin(GPIOB, LCD_D3_Pin|LCD_D6_Pin|LCD_D0_Pin|ISM43362_BOOT0_Pin
                          |ISM43362_WAKEUP_Pin|LED2_Pin|SPSGRF_915_SDN_Pin|LCD_D5_Pin
                          |SPSGRF_915_SPI3_CSN_Pin, GPIO_PIN_RESET);

  /*Configure GPIO pin Output Level */
  HAL_GPIO_WritePin(GPIOD, USB_OTG_FS_PWR_EN_Pin|SPBTLE_RF_SPI3_CSN_Pin|LCD_D2_Pin|PMOD_RESET_Pin
                          |STSAFE_A100_RESET_Pin, GPIO_PIN_RESET);

  /*Configure GPIO pins : M24SR64_Y_RF_DISABLE_Pin M24SR64_Y_GPO_Pin ISM43362_RST_Pin ISM43362_SPI3_CSN_Pin */
  GPIO_InitStruct.Pin = M24SR64_Y_RF_DISABLE_Pin|M24SR64_Y_GPO_Pin|ISM43362_RST_Pin|ISM43362_SPI3_CSN_Pin;
  GPIO_InitStruct.Mode = GPIO_MODE_OUTPUT_PP;
  GPIO_InitStruct.Pull = GPIO_NOPULL;
  GPIO_InitStruct.Speed = GPIO_SPEED_FREQ_LOW;
  HAL_GPIO_Init(GPIOE, &GPIO_InitStruct);

  /*Configure GPIO pins : USB_OTG_FS_OVRCR_EXTI3_Pin SPSGRF_915_GPIO3_EXTI5_Pin SPBTLE_RF_IRQ_EXTI6_Pin ISM43362_DRDY_EXTI1_Pin */
  GPIO_InitStruct.Pin = USB_OTG_FS_OVRCR_EXTI3_Pin|SPSGRF_915_GPIO3_EXTI5_Pin|SPBTLE_RF_IRQ_EXTI6_Pin|ISM43362_DRDY_EXTI1_Pin;
  GPIO_InitStruct.Mode = GPIO_MODE_IT_RISING;
  GPIO_InitStruct.Pull = GPIO_NOPULL;
  HAL_GPIO_Init(GPIOE, &GPIO_InitStruct);

  /*Configure GPIO pin : BUTTON_EXTI13_Pin */
  GPIO_InitStruct.Pin = BUTTON_EXTI13_Pin;
  GPIO_InitStruct.Mode = GPIO_MODE_IT_FALLING;
  GPIO_InitStruct.Pull = GPIO_NOPULL;
  HAL_GPIO_Init(BUTTON_EXTI13_GPIO_Port, &GPIO_InitStruct);

  /*Configure GPIO pins : LCD_RST_Pin LCD_WR_Pin LCD_RD_Pin VL53L0X_XSHUT_Pin
                           LED3_WIFI__LED4_BLE_Pin */
  GPIO_InitStruct.Pin = LCD_RST_Pin|LCD_WR_Pin|LCD_RD_Pin|VL53L0X_XSHUT_Pin
                          |LED3_WIFI__LED4_BLE_Pin;
  GPIO_InitStruct.Mode = GPIO_MODE_OUTPUT_PP;
  GPIO_InitStruct.Pull = GPIO_NOPULL;
  GPIO_InitStruct.Speed = GPIO_SPEED_FREQ_LOW;
  HAL_GPIO_Init(GPIOC, &GPIO_InitStruct);

  /*Configure GPIO pins : ARD_D1_Pin ARD_D0_Pin */
  GPIO_InitStruct.Pin = ARD_D1_Pin|ARD_D0_Pin;
  GPIO_InitStruct.Mode = GPIO_MODE_AF_PP;
  GPIO_InitStruct.Pull = GPIO_NOPULL;
  GPIO_InitStruct.Speed = GPIO_SPEED_FREQ_VERY_HIGH;
  GPIO_InitStruct.Alternate = GPIO_AF8_UART4;
  HAL_GPIO_Init(GPIOA, &GPIO_InitStruct);

  /*Configure GPIO pins : SD_SS_Pin LCD_D4_Pin LCD_D7_Pin SPBTLE_RF_RST_Pin
                           LCD_D1_Pin */
  GPIO_InitStruct.Pin = SD_SS_Pin|LCD_D4_Pin|LCD_D7_Pin|SPBTLE_RF_RST_Pin
                          |LCD_D1_Pin;
  GPIO_InitStruct.Mode = GPIO_MODE_OUTPUT_PP;
  GPIO_InitStruct.Pull = GPIO_NOPULL;
  GPIO_InitStruct.Speed = GPIO_SPEED_FREQ_LOW;
  HAL_GPIO_Init(GPIOA, &GPIO_InitStruct);

  /*Configure GPIO pins : ARD_D13_Pin ARD_D12_Pin ARD_D11_Pin */
  GPIO_InitStruct.Pin = ARD_D13_Pin|ARD_D12_Pin|ARD_D11_Pin;
  GPIO_InitStruct.Mode = GPIO_MODE_AF_PP;
  GPIO_InitStruct.Pull = GPIO_NOPULL;
  GPIO_InitStruct.Speed = GPIO_SPEED_FREQ_VERY_HIGH;
  GPIO_InitStruct.Alternate = GPIO_AF5_SPI1;
  HAL_GPIO_Init(GPIOA, &GPIO_InitStruct);

  /*Configure GPIO pins : LCD_D3_Pin LCD_D6_Pin LCD_D0_Pin ISM43362_BOOT0_Pin
                           ISM43362_WAKEUP_Pin LED2_Pin SPSGRF_915_SDN_Pin LCD_D5_Pin
                           SPSGRF_915_SPI3_CSN_Pin */
  GPIO_InitStruct.Pin = LCD_D3_Pin|LCD_D6_Pin|LCD_D0_Pin|ISM43362_BOOT0_Pin
                          |ISM43362_WAKEUP_Pin|LED2_Pin|SPSGRF_915_SDN_Pin|LCD_D5_Pin
                          |SPSGRF_915_SPI3_CSN_Pin;
  GPIO_InitStruct.Mode = GPIO_MODE_OUTPUT_PP;
  GPIO_InitStruct.Pull = GPIO_NOPULL;
  GPIO_InitStruct.Speed = GPIO_SPEED_FREQ_LOW;
  HAL_GPIO_Init(GPIOB, &GPIO_InitStruct);

  /*Configure GPIO pins : LPS22HB_INT_DRDY_EXTI0_Pin LSM6DSL_INT1_EXTI11_Pin HTS221_DRDY_EXTI15_Pin PMOD_IRQ_EXTI12_Pin */
  GPIO_InitStruct.Pin = LPS22HB_INT_DRDY_EXTI0_Pin|LSM6DSL_INT1_EXTI11_Pin|HTS221_DRDY_EXTI15_Pin|PMOD_IRQ_EXTI12_Pin;
  GPIO_InitStruct.Mode = GPIO_MODE_IT_RISING;
  GPIO_InitStruct.Pull = GPIO_NOPULL;
  HAL_GPIO_Init(GPIOD, &GPIO_InitStruct);

  /*Configure GPIO pins : USB_OTG_FS_PWR_EN_Pin SPBTLE_RF_SPI3_CSN_Pin LCD_D2_Pin PMOD_RESET_Pin
                           STSAFE_A100_RESET_Pin */
  GPIO_InitStruct.Pin = USB_OTG_FS_PWR_EN_Pin|SPBTLE_RF_SPI3_CSN_Pin|LCD_D2_Pin|PMOD_RESET_Pin
                          |STSAFE_A100_RESET_Pin;
  GPIO_InitStruct.Mode = GPIO_MODE_OUTPUT_PP;
  GPIO_InitStruct.Pull = GPIO_NOPULL;
  GPIO_InitStruct.Speed = GPIO_SPEED_FREQ_LOW;
  HAL_GPIO_Init(GPIOD, &GPIO_InitStruct);

  /*Configure GPIO pins : VL53L0X_GPIO1_EXTI7_Pin LSM3MDL_DRDY_EXTI8_Pin */
  GPIO_InitStruct.Pin = VL53L0X_GPIO1_EXTI7_Pin|LSM3MDL_DRDY_EXTI8_Pin;
  GPIO_InitStruct.Mode = GPIO_MODE_IT_RISING;
  GPIO_InitStruct.Pull = GPIO_NOPULL;
  HAL_GPIO_Init(GPIOC, &GPIO_InitStruct);

  /*Configure GPIO pin : PMOD_SPI2_SCK_Pin */
  GPIO_InitStruct.Pin = PMOD_SPI2_SCK_Pin;
  GPIO_InitStruct.Mode = GPIO_MODE_AF_PP;
  GPIO_InitStruct.Pull = GPIO_NOPULL;
  GPIO_InitStruct.Speed = GPIO_SPEED_FREQ_VERY_HIGH;
  GPIO_InitStruct.Alternate = GPIO_AF5_SPI2;
  HAL_GPIO_Init(PMOD_SPI2_SCK_GPIO_Port, &GPIO_InitStruct);

  /*Configure GPIO pins : PMOD_UART2_CTS_Pin PMOD_UART2_RTS_Pin PMOD_UART2_TX_Pin PMOD_UART2_RX_Pin */
  GPIO_InitStruct.Pin = PMOD_UART2_CTS_Pin|PMOD_UART2_RTS_Pin|PMOD_UART2_TX_Pin|PMOD_UART2_RX_Pin;
  GPIO_InitStruct.Mode = GPIO_MODE_AF_PP;
  GPIO_InitStruct.Pull = GPIO_NOPULL;
  GPIO_InitStruct.Speed = GPIO_SPEED_FREQ_VERY_HIGH;
  GPIO_InitStruct.Alternate = GPIO_AF7_USART2;
  HAL_GPIO_Init(GPIOD, &GPIO_InitStruct);

  /*Configure GPIO pins : ARD_D15_Pin ARD_D14_Pin */
  GPIO_InitStruct.Pin = ARD_D15_Pin|ARD_D14_Pin;
  GPIO_InitStruct.Mode = GPIO_MODE_AF_OD;
  GPIO_InitStruct.Pull = GPIO_PULLUP;
  GPIO_InitStruct.Speed = GPIO_SPEED_FREQ_VERY_HIGH;
  GPIO_InitStruct.Alternate = GPIO_AF4_I2C1;
  HAL_GPIO_Init(GPIOB, &GPIO_InitStruct);

  /* EXTI interrupt init*/
  HAL_NVIC_SetPriority(EXTI9_5_IRQn, 0, 0);
  HAL_NVIC_EnableIRQ(EXTI9_5_IRQn);

  HAL_NVIC_SetPriority(EXTI15_10_IRQn, 0, 0);
  HAL_NVIC_EnableIRQ(EXTI15_10_IRQn);

}

void Error_Handler(void)
{
}

/************************ (C) COPYRIGHT STMicroelectronics *****END OF FILE****/
